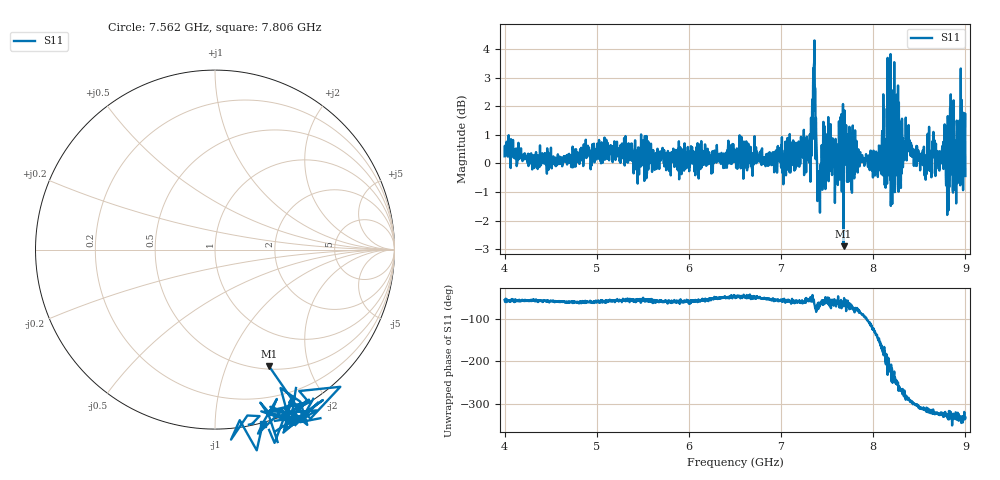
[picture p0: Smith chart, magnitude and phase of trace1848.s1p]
! Created with skrf 1.8.0 (http://scikit-rf.org).
# Hz S RI R 50.0
!freq ReS11 ImS11
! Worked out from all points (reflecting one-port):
!   1601 points, 4 GHz to 9 GHz, reference 50 ohm
!   lowest |S11| = -2.9 dB at 7.678 GHz (marker M1), VSWR 6.07, Z = 26.7 - j71.4 ohm
!   phase of S11 starts at -56 deg and turns -275 deg over the sweep
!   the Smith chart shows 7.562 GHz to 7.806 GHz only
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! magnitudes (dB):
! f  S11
! 4 GHz  0.3
! 4.625 GHz  -0.1
! 5.25 GHz  0.1
! 5.875 GHz  0.4
! 6.5 GHz  0.3
! 7.125 GHz  0.1
! 7.309 GHz  0.0
! 7.347 GHz  2.7
! 7.366 GHz  2.6
! 7.397 GHz  -0.3
! 7.412 GHz  -0.4
! 7.522 GHz  0.1
! 7.6 GHz  0.0
! 7.678 GHz  -2.9
! 7.75 GHz  0.2
! 8.034 GHz  0.1
! 8.094 GHz  0.8
! 8.147 GHz  0.4
! 8.178 GHz  1.3
! 8.216 GHz  1.9
! 8.266 GHz  1.0
! 8.312 GHz  1.6
! 8.375 GHz  0.9
! 8.556 GHz  -0.4
! 8.775 GHz  1.4
! 8.875 GHz  0.2
! 8.972 GHz  0.7
! 9 GHz  -0.4
